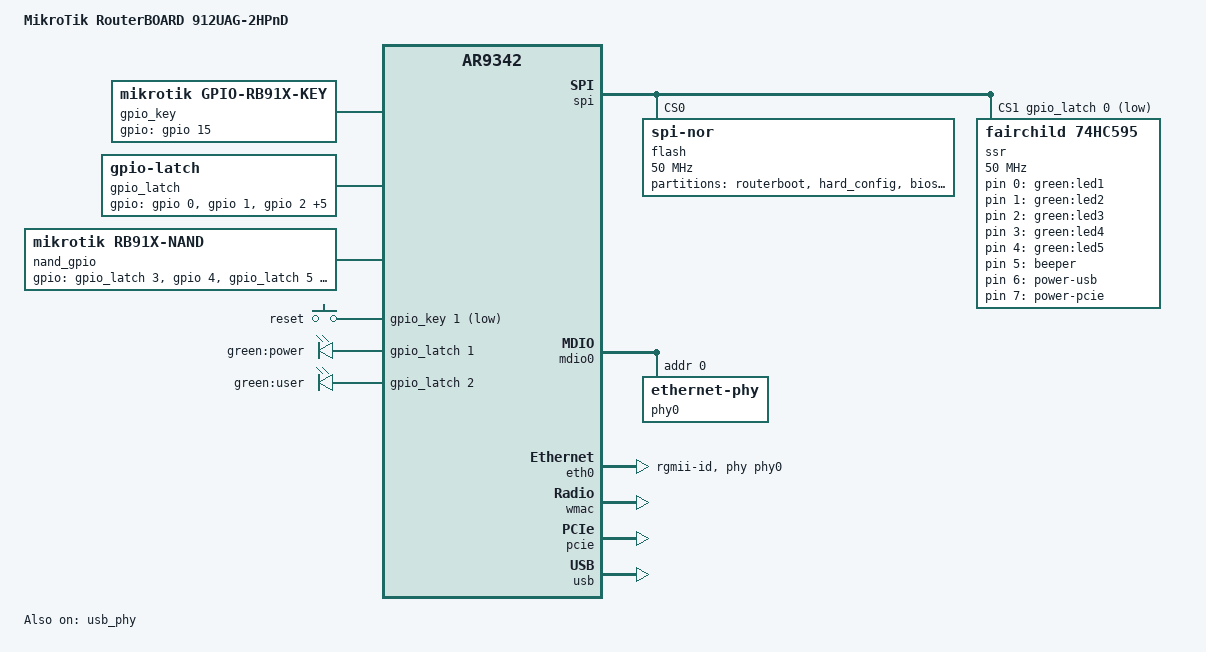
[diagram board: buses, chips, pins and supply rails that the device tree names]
// SPDX-License-Identifier: GPL-2.0-or-later

#include "ar9344.dtsi"

#include <dt-bindings/gpio/gpio.h>
#include <dt-bindings/input/input.h>

/ {
	compatible = "mikrotik,routerboard-912uag-2hpnd", "qca,ar9342";
	model = "MikroTik RouterBOARD 912UAG-2HPnD";

	aliases {
                led-boot = &led_power;
                led-failsafe = &led_power;
                led-running = &led_power;
                led-upgrade = &led_power;
        };

	gpio_key: gpio_key {
		compatible = "mikrotik,gpio-rb91x-key";
		gpio-controller;
		#gpio-cells = <2>;
		gpio = <&gpio 15 GPIO_ACTIVE_HIGH>;
	};

	gpio_latch: gpio_latch {
		compatible = "gpio-latch";
		gpio-controller;
		#gpio-cells = <2>;
		gpios = <&gpio 0 GPIO_ACTIVE_HIGH>,
			<&gpio 1 GPIO_ACTIVE_HIGH>,
			<&gpio 2 GPIO_ACTIVE_HIGH>,
			<&gpio 3 GPIO_ACTIVE_HIGH>,
			<0>, /* Not connected */
			<&gpio 13 GPIO_ACTIVE_HIGH>,
			<&gpio 14 GPIO_ACTIVE_HIGH>,
			<&gpio_key 0 GPIO_ACTIVE_HIGH>,
			<&gpio 11 GPIO_ACTIVE_LOW>; /* Latch Enable */
	};

	nand_gpio {
		compatible = "mikrotik,rb91x-nand";

		gpios = <&gpio_latch 3 GPIO_ACTIVE_HIGH>, /* Read */
			<&gpio 4 GPIO_ACTIVE_HIGH>,       /* Ready (RDY) */
			<&gpio_latch 5 GPIO_ACTIVE_LOW>,  /* Chip Enable (nCE) */
			<&gpio_latch 6 GPIO_ACTIVE_HIGH>, /* Command Latch Enable (CLE) */
			<&gpio_latch 7 GPIO_ACTIVE_HIGH>, /* Address Latch Enable (ALE) */
			<&gpio 12 GPIO_ACTIVE_LOW>,       /* Read/Write Enable (nRW) */
			<&gpio_latch 8 GPIO_ACTIVE_LOW>,  /* Latch Enable (nLE) */
			<&gpio_key 2 GPIO_ACTIVE_HIGH>;   /* Key poll disable */

		partitions {
			compatible = "fixed-partitions";
			#size-cells = <1>;

			partition@0 {
				label = "booter";
				reg = <0x0 0x0040000>;
				read-only;
			};

			partition@40000 {
				label = "kernel";
				reg = <0x0040000 0x03c0000>;
			};

			partition@400000 {
				label = "ubi";
				reg = <0x0400000 0x7c00000>;
			};
		};
	};

	keys {
		compatible = "gpio-keys-polled";
		poll-interval = <20>;

		button@0 {
			label = "reset";
			linux,code = <KEY_RESTART>;
			gpios = <&gpio_key 1 GPIO_ACTIVE_LOW>;
		};
	};

	leds {
		compatible = "gpio-leds";

		led_power: power {
			label = "green:power";
			gpios = <&gpio_latch 1 GPIO_ACTIVE_HIGH>;
			default-state = "on";
		};

		user {
			label = "green:user";
			gpios = <&gpio_latch 2 GPIO_ACTIVE_HIGH>;
		};

		led1 {
			label = "green:led1";
			gpios = <&ssr 0 GPIO_ACTIVE_HIGH>;
		};

		led2 {
			label = "green:led2";
			gpios = <&ssr 1 GPIO_ACTIVE_HIGH>;
		};

		led3 {
			label = "green:led3";
			gpios = <&ssr 2 GPIO_ACTIVE_HIGH>;
		};

		led4 {
			label = "green:led4";
			gpios = <&ssr 3 GPIO_ACTIVE_HIGH>;
		};

		led5 {
			label = "green:led5";
			gpios = <&ssr 4 GPIO_ACTIVE_HIGH>;
		};
	};

	gpio-export {
		compatible = "gpio-export";

		beeper {
			gpio-export,name = "beeper";
			gpio-export,output = <1>;	/* Must be 1 to avoid EMI induced clicking noise */
			gpios = <&ssr 5 GPIO_ACTIVE_HIGH>;
		};

		usb_power {
			gpio-export,name = "power-usb";
			gpio-export,output = <1>;
			gpios = <&ssr 6 GPIO_ACTIVE_HIGH>;
		};

		pcie_power {
			gpio-export,name = "power-pcie";
			gpio-export,output = <0>;
			gpios = <&ssr 7 GPIO_ACTIVE_HIGH>;
		};
	};
};

&ref {
	clock-frequency = <25000000>;
};

&spi {
	status = "okay";

	compatible = "qca,ar7100-spi";

	cs-gpios = <0>, <&gpio_latch 0 GPIO_ACTIVE_LOW>;

	flash@0 {
		compatible = "jedec,spi-nor";
		reg = <0>;
		spi-max-frequency = <50000000>;

		partitions {
			compatible = "mikrotik,routerboot-partitions";
			#address-cells = <1>;
			#size-cells = <1>;

			partition@0 {
				label = "routerboot";
				reg = <0x0 0x0>;
				read-only;
			};

			hard_config: hard_config {
				read-only;
			};

			bios {
				size = <0x1000>;
				read-only;
			};

			soft_config {
			};
		};
	};

	ssr: ssr@1 {
		compatible = "fairchild,74hc595";
		gpio-controller;
		#gpio-cells = <2>;
		registers-number = <1>;
		reg = <1>;
		spi-max-frequency = <50000000>;
	};
};

&mdio0 {
	status = "okay";

	phy-mask = <0>;

	phy0: ethernet-phy@0 {
		reg = <0>;
	};
};

&eth0 {
	status = "okay";

	phy-mode = "rgmii-id";
	phy-handle = <&phy0>;
	pll-data = <0x02000000 0x00000101 0x00001313>;

	gmac-config {
		device = <&gmac>;
		rgmii-gmac0 = <1>;
		rxd-delay = <1>;
		txd-delay = <1>;
	};
};

&wmac {
	status = "okay";
	qca,no-eeprom;
};

&pcie {
	status = "okay";
};

&usb {
	status = "okay";
};

&usb_phy {
	status = "okay";
};
